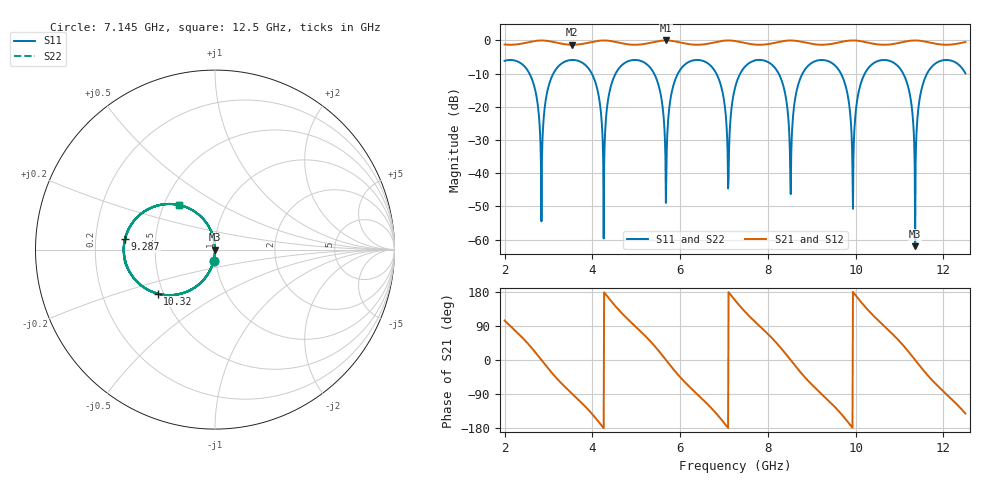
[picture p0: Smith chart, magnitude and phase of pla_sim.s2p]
! TOUCHSTONE file generated by CST MICROWAVE STUDIO
! Date and time: Tue Apr 18 18:35:12 2023
! Project name: Untitled_0.cst
! Header version: 2018
! Port assignment regex: !\s*Touchstone port\s*([0-9]+)\s*=\s*(CST MWS port|CST DS port)\s*([0-9]+|Zmin|Zmax)\s*\(\"(.*)\"\)(\s*mode\s*([0-9]+))?.*
! Touchstone port assignment:
! Touchstone port 1 = CST MWS port 1 ("")
! Touchstone port 2 = CST MWS port 2 ("")
# GHz S MA R 50
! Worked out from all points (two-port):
!   1001 points, 2 GHz to 12.5 GHz, reference 50 ohm
!   highest |S21| = 0.00 dB at 5.675 GHz (marker M1); lowest = -1.3 dB at 3.543 GHz (marker M2)
!   |S21| within 3 dB of the highest: start of sweep to end of sweep
!   lowest |S11| = -62.0 dB at 11.36 GHz (marker M3), VSWR 1.00, Z = 50 - j0.0693 ohm
!   |S11| at or under -10 dB: 5.407 GHz to 5.949 GHz (541.7 MHz wide, 9.54 % of centre); 6.826 GHz to 7.368 GHz (541.9 MHz wide, 7.64 % of centre); 9.665 GHz to 10.21 GHz (542.4 MHz wide, 5.46 % of centre)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
!   |S22| runs from -62.9 to -5.9 dB; largest |S21 - S12| = 0.00076
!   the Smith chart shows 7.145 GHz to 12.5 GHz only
!   S11 on the Smith chart (normalised r, x): 7.145 GHz: 0.98, -0.12; 9.287 GHz: 0.33, +0.05; 10.32 GHz: 0.47, -0.27; 12.5 GHz: 0.60, +0.33
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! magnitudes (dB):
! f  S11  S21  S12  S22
! 2 GHz  -6.1  -1.2  -1.2  -6.1
! 2.599 GHz  -10.9  -0.4  -0.4  -10.8
! 2.84 GHz  -54.5  0.0  0.0  -54.8
! 3.543 GHz  -5.9  -1.3  -1.3  -5.9
! 3.753 GHz  -6.6  -1.1  -1.1  -6.6
! 4.258 GHz  -59.7  0.0  0.0  -59.7
! 4.636 GHz  -7.9  -0.8  -0.8  -7.9
! 5.507 GHz  -13.4  -0.2  -0.2  -13.4
! 5.675 GHz  -48.9  0.0  0.0  -49.0
! 6.316 GHz  -6.0  -1.3  -1.3  -6.0
! 7.145 GHz  -24.1  0.0  0.0  -24.1
! 7.25 GHz  -14.3  -0.2  -0.2  -14.3
! 8.111 GHz  -7.5  -0.8  -0.8  -7.5
! 8.521 GHz  -46.3  0.0  0.0  -46.3
! 9.004 GHz  -6.7  -1.0  -1.0  -6.7
! 9.287 GHz  -5.9  -1.3  -1.3  -5.9
! 9.938 GHz  -50.7  0.0  0.0  -50.6
! 10.32 GHz  -7.9  -0.8  -0.8  -7.9
! 10.76 GHz  -6.1  -1.2  -1.2  -6.1
! 11.36 GHz  -62.0  0.0  0.0  -62.9
! 11.68 GHz  -8.8  -0.6  -0.6  -8.8
! 12.5 GHz  -9.9  -0.5  -0.5  -9.9
